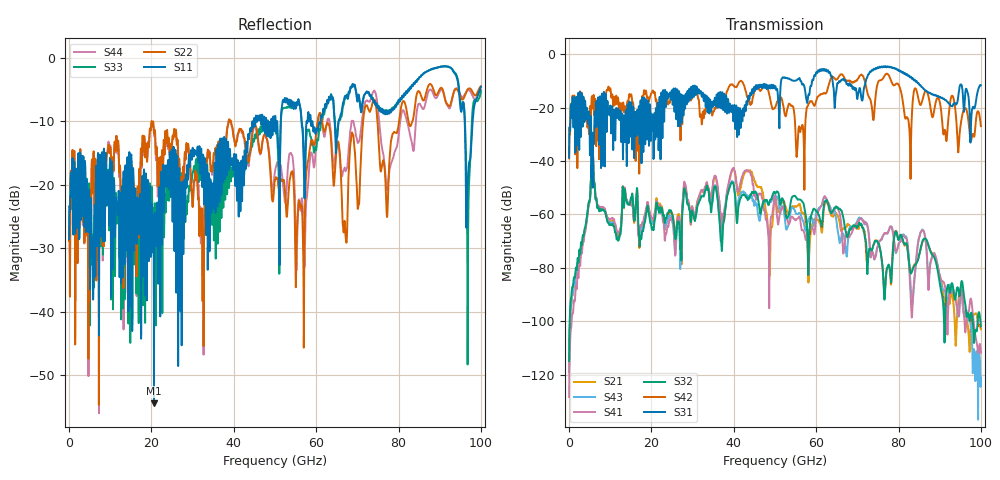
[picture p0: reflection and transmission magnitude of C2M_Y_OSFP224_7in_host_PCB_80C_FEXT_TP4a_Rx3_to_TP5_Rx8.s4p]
# GHz S RI R 45
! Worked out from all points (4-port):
!   4000 points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, 25 MHz to 100 GHz, reference 45 ohm
!   strongest paths, dB at 25 MHz, 25.02 GHz, 50.02 GHz, 75.03 GHz, 100 GHz:
!     S31: -38.7, -14.2, -12.1, -5.0, -11.6
!     S42: -39.0, -14.0, -20.0, -10.6, -26.9
!     S32: -114.9, -60.0, -52.2, -70.7, -101.9
!     S41: -128.4, -62.0, -53.2, -71.5, -111.8
!     S43: -118.8, -62.5, -54.1, -71.6, -121.2
!     S21: -119.0, -59.8, -53.0, -70.7, -103.0
!   lowest |S11| = -54.4 dB at 20.62 GHz (marker M1), VSWR 1.00, Z = 45 - j0.169 ohm
!   |S11| at or under -10 dB: start of sweep to 44.52 GHz; 59.09 GHz to 61.04 GHz (1.955 GHz wide, 3.26 % of centre); 96.08 GHz to 98 GHz (1.927 GHz wide, 1.99 % of centre)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
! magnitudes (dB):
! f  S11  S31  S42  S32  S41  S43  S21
! 25 MHz  -28.5  -38.7  -39.0  -114.9  -128.4  -118.8  -119.0
! 5.75 GHz  -34.3  -50.0  -20.4  -41.1  -41.1  -41.1  -41.0
! 20.62 GHz  -54.4  -26.0  -14.6  -64.3  -61.0  -63.2  -61.6
! 43.6 GHz  -12.2  -15.7  -17.6  -53.8  -43.8  -53.2  -43.5
! 48.75 GHz  -10.2  -11.7  -16.0  -54.8  -69.1  -55.3  -83.0
! 96.92 GHz  -18.4  -15.3  -24.4  -97.0  -96.7  -99.2  -102.8
! 100 GHz  -4.6  -11.6  -26.9  -101.9  -111.8  -121.2  -103.0
